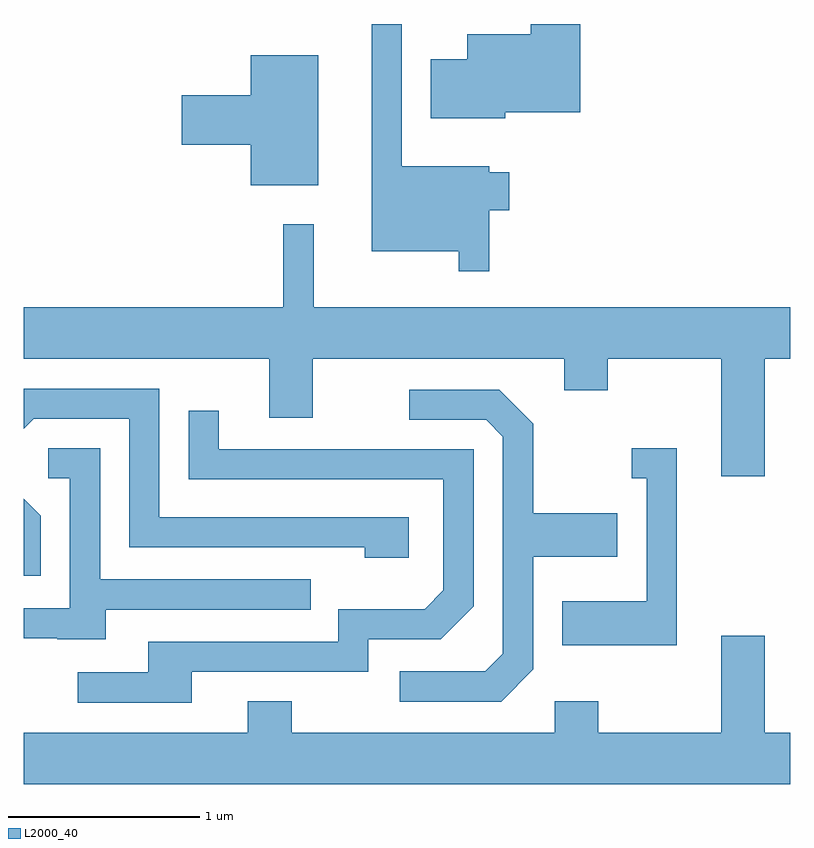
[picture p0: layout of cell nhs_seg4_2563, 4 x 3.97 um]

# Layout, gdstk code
import gdstk
lib = gdstk.Library(unit=1e-6, precision=1e-09)
def P(c, l, *ps):  # polygons
    for p in ps: c.add(gdstk.Polygon(p, *l))
L2000_40 = (2000, 40)

nhs_seg4_2563 = lib.new_cell('nhs_seg4_2563')
P(nhs_seg4_2563, L2000_40, [(262.039,1351.011),(262.144,1351.011),(262.144,1351.209),(262.039,1351.209),(262.039,1351.239),(261.584,1351.239),(261.584,1351.982),(261.426,1351.982),(261.426,1350.796),(261.881,1350.796),(261.881,1350.693),(262.039,1350.693)],
  [(262.124,1351.521),(262.514,1351.521),(262.514,1351.982),(262.256,1351.982),(262.256,1351.929),(261.926,1351.929),(261.926,1351.799),(261.736,1351.799),(261.736,1351.491),(262.124,1351.491)],
  [(261.149,1351.819),(260.796,1351.819),(260.796,1351.609),(260.436,1351.609),(260.436,1351.351),(260.796,1351.351),(260.796,1351.141),(261.149,1351.141)],
  [(263.479,1350.236),(263.611,1350.236),(263.611,1350.504),(261.124,1350.504),(261.124,1350.938),(260.966,1350.938),(260.966,1350.504),(259.611,1350.504),(259.611,1350.236),(260.891,1350.236),(260.891,1349.926),(261.119,1349.926),(261.119,1350.236),(262.431,1350.236),(262.431,1350.071),(262.659,1350.071),(262.659,1350.236),(263.251,1350.236),(263.251,1349.621),(263.479,1349.621)],
  [(261.619,1349.409),(260.319,1349.409),(260.319,1350.079),(259.611,1350.079),(259.611,1349.87),(259.662,1349.921),(260.161,1349.921),(260.161,1349.251),(261.391,1349.251),(261.391,1349.196),(261.619,1349.196)],
  [(262.269,1348.614),(262.269,1349.201),(262.709,1349.201),(262.709,1349.429),(262.269,1349.429),(262.269,1349.897),(262.092,1350.074),(261.623,1350.074),(261.623,1349.916),(262.024,1349.916),(262.111,1349.829),(262.111,1348.697),(262.019,1348.604),(261.573,1348.604),(261.573,1348.446),(262.102,1348.446)],
  [(260.489,1348.601),(261.409,1348.601),(261.409,1348.771),(261.787,1348.771),(261.959,1348.944),(261.959,1349.764),(260.629,1349.764),(260.629,1349.963),(260.471,1349.963),(260.471,1349.606),(261.801,1349.606),(261.801,1349.027),(261.704,1348.929),(261.251,1348.929),(261.251,1348.759),(260.261,1348.759),(260.261,1348.599),(259.892,1348.599),(259.892,1348.441),(260.489,1348.441)],
  [(260.039,1348.926),(261.108,1348.926),(261.108,1349.084),(260.009,1349.084),(260.009,1349.769),(259.738,1349.769),(259.738,1349.611),(259.851,1349.611),(259.851,1348.934),(259.611,1348.934),(259.611,1348.776),(259.785,1348.776),(259.785,1348.771),(260.039,1348.771)],
  [(263.019,1349.769),(262.783,1349.769),(262.783,1349.611),(262.861,1349.611),(262.861,1348.969),(262.421,1348.969),(262.421,1348.741),(263.019,1348.741)],
  [(259.699,1349.417),(259.611,1349.505),(259.611,1349.103),(259.699,1349.103)],
  [(263.611,1348.284),(263.479,1348.284),(263.479,1348.789),(263.251,1348.789),(263.251,1348.284),(262.609,1348.284),(262.609,1348.449),(262.381,1348.449),(262.381,1348.284),(261.009,1348.284),(261.009,1348.449),(260.781,1348.449),(260.781,1348.284),(259.611,1348.284),(259.611,1348.016),(263.611,1348.016)])

lib.write_gds('nhs_seg4_2563.gds')
